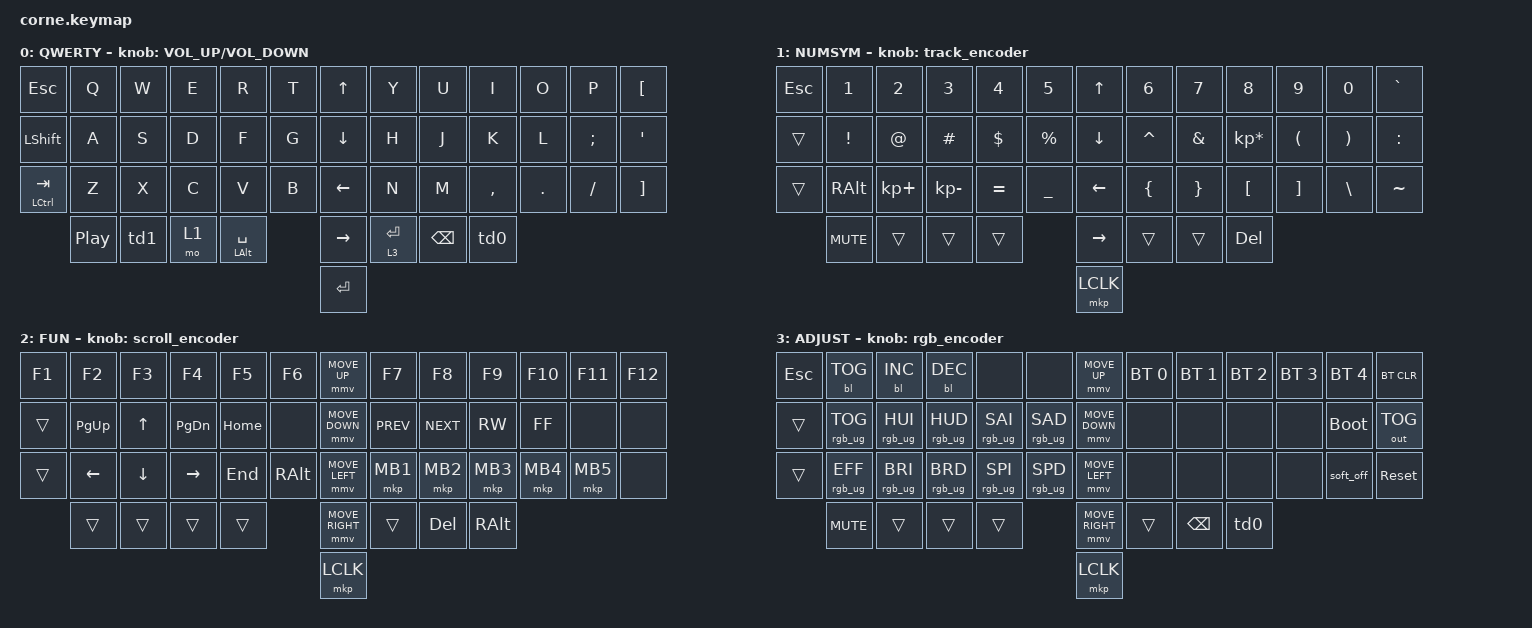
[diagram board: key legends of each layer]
#include <behaviors/mouse_keys.dtsi>

#include <behaviors.dtsi>
#include <dt-bindings/zmk/bt.h>
#include <dt-bindings/zmk/keys.h>
#include <dt-bindings/zmk/mouse.h>
#include <dt-bindings/zmk/outputs.h>
#include <dt-bindings/zmk/backlight.h>
#include <dt-bindings/zmk/rgb.h>

#define ZMK_MOUSE_DEFAULT_MOVE_VAL 1200  // 600
#define ZMK_MOUSE_DEFAULT_SCRL_VAL 20    // 10
#define U_MS_U &mmv MOVE_UP
#define U_MS_D &mmv MOVE_DOWN
#define U_MS_L &mmv MOVE_LEFT
#define U_MS_R &mmv MOVE_RIGHT

/ {
    behaviors {
        td0: td0 {
            compatible = "zmk,behavior-tap-dance";
            label = "TD0";
            #binding-cells = <0>;
            bindings = <&kp LALT>, <&kp CAPS>;
        };

        td1: td1 {
            compatible = "zmk,behavior-tap-dance";
            label = "TD1";
            #binding-cells = <0>;
            bindings = <&kp LGUI>, <&mo 2>;
        };

        mmv {
            acceleration-exponent = <1>;      // 1
            time-to-max-speed-ms = <900>;    // 40
            delay-ms = <0>;                   // 0
        };

        msc {
            acceleration-exponent = <1>;      // 0
            time-to-max-speed-ms = <400>;      // 500
            delay-ms = <0>;                   // 10
        };
    };

    rgb_encoder: rgb_encoder {
        compatible = "zmk,behavior-sensor-rotate";
        label = "RGB_ENCODER";
        #sensor-binding-cells = <0>;
        bindings = <&rgb_ug RGB_BRI>, <&rgb_ug RGB_BRD>;
    };

    scroll_encoder: scroll_encoder {
        compatible = "zmk,behavior-sensor-rotate";
        #sensor-binding-cells = <0>;
        bindings = <&msc SCRL_DOWN>, <&msc SCRL_UP>;

        tap-ms = <30>;
    };

    track_encoder: track_encoder {
        compatible = "zmk,behavior-sensor-rotate";
        label = "TRACK_ENCODER";
        #sensor-binding-cells = <0>;
        bindings = <&kp C_NEXT>, <&kp C_PREV>;
    };

    keymap {
        compatible = "zmk,keymap";

        default_layer {
            display-name = "QWERTY";

            // --------------------------------------------------------------------------------
            // |  ESC       |  Q  |  W  |  E  |  R  |  T  |          ↑    |  Y  |  U   |  I  |  O  |  P  |  [  | 
            // | SHIFT      |  A  |  S  |  D  |  F  |  G  |          ↓    |  H  |  J   |  K  |  L  |  ;  |  '  | 
            // | CTRL/TAB   |  Z  |  X  |  C  |  V  |  B  |          ←    |  N  |  M   |  ,  |  .  |  /  |  ]  |
            //                    | GUI/RSE | LWR | SPC |            →    | ENT | BKSP | LALT|
            //                                                      enter

            bindings = <
&kp ESC        &kp Q     &kp W        &kp E  &kp R     &kp T    &kp UP_ARROW     &kp Y        &kp U     &kp I      &kp O    &kp P     &kp LBKT
&kp LEFT_SHIFT &kp A     &kp S        &kp D  &kp F     &kp G    &kp DOWN_ARROW   &kp H        &kp J     &kp K      &kp L    &kp SEMI  &kp SQT
&mt LCTRL TAB  &kp Z     &kp X        &kp C  &kp V     &kp B    &kp LEFT_ARROW   &kp N        &kp M     &kp COMMA  &kp DOT  &kp FSLH  &kp RBKT
               &kp C_PP  &td1         &mo 1  &mt LALT SPACE     &kp RIGHT_ARROW  &lt 3 ENTER  &kp BSPC  &td0
                                                                &kp ENTER
            >;

            label = "QWERTY";
            sensor-bindings = <&inc_dec_kp C_VOLUME_UP C_VOLUME_DOWN>;
        };

        lower_layer {
            display-name = "NUMSYM";

            // -----------------------------------------------------------------------------------------
            // |  ESC       |  1  |  2  |  3  |  4  |  5  |   |  6  |  7  |  8  |  9  |  0  |  `  |
            // | SHIFT      |  !  |  @  |  #  |  $  |  %  |   |  ^  |  &  |  *  |  (  |  )  |  :  |
            // | CTRL/TAB   |     |  +  |  -  |  =  |  _  |   |  {  |  }  |  [  |  ]  |  \  |  ~  |
            //                    | GUI/RSE | LWR | SPC |     | ENT | BKSP | DEL |

            bindings = <
&kp ESC &kp N1    &kp N2          &kp N3        &kp N4        &kp N5            &kp UP_ARROW     &kp N6          &kp N7           &kp N8            &kp N9             &kp N0         &kp GRAVE
&trans  &kp EXCL  &kp AT          &kp HASH      &kp DLLR      &kp PRCNT         &kp DOWN_ARROW   &kp CARET       &kp AMPS         &kp KP_MULTIPLY   &kp LPAR           &kp RPAR       &kp COLON
&trans  &kp RALT  &kp KP_PLUS     &kp KP_MINUS  &kp EQUAL     &kp UNDERSCORE    &kp LEFT_ARROW   &kp LEFT_BRACE  &kp RIGHT_BRACE  &kp LEFT_BRACKET  &kp RIGHT_BRACKET  &kp BACKSLASH  &kp TILDE
                  &kp C_MUTE      &trans        &trans        &trans            &kp RIGHT_ARROW  &trans          &trans           &kp DEL
                                                                                &mkp LCLK
            >;

            label = "NUMSYM";
            sensor-bindings = <&track_encoder>;
        };

        raise_layer {
            display-name = "FUN";

            // -----------------------------------------------------------------------------------------
            // |  F1        |  F2  |  F3  |  F4   |  F5  |  F6  |   |  F7  |  F8  |  F9  |  F10  |  F11  | F12 |
            // | SHIFT/CAPS |  PU  |  UP  |  PD   | HOME |      |   | PREV | NEXT | REW  |  FF   |       |     |
            // | CTRL/TAB   | LEFT | DOWN | RIGHT | END  |      |   |  MB1 |  MB2 |  MB3 |  MB4  |  MB5  |     |
            //                     | GUI/RSE | LWR | SPC |          | ENT  |  DEL | RALT |

            bindings = <
&kp F1  &kp F2          &kp F3          &kp F4           &kp F5    &kp F6       &mmv MOVE_UP     &kp F7      &kp F8      &kp F9    &kp F10   &kp F11   &kp F12
&trans  &kp PAGE_UP     &kp UP_ARROW    &kp PAGE_DOWN    &kp HOME  &none        &mmv MOVE_DOWN   &kp C_PREV  &kp C_NEXT  &kp C_RW  &kp C_FF  &none     &none
&trans  &kp LEFT_ARROW  &kp DOWN_ARROW  &kp RIGHT_ARROW  &kp END   &kp RALT     &mmv MOVE_LEFT   &mkp MB1    &mkp MB2    &mkp MB3  &mkp MB4  &mkp MB5  &none
                        &trans          &trans           &trans    &trans       &mmv MOVE_RIGHT  &trans      &kp DEL     &kp RALT
                                                                                &mkp LCLK
            >;

            label = "FUN";
            sensor-bindings = <&scroll_encoder>;
        };

        layer_3 {
            display-name = "ADJUST";
            bindings = <
&kp ESC &bl BL_TOG       &bl BL_INC       &bl BL_DEC       &none            &none              &mmv MOVE_UP     &bt BT_SEL 0  &bt BT_SEL 1  &bt BT_SEL 2  &bt BT_SEL 3  &bt BT_SEL 4  &bt BT_CLR
&trans  &rgb_ug RGB_TOG  &rgb_ug RGB_HUI  &rgb_ug RGB_HUD  &rgb_ug RGB_SAI  &rgb_ug RGB_SAD    &mmv MOVE_DOWN   &none         &none         &none         &none         &bootloader   &out OUT_TOG
&trans  &rgb_ug RGB_EFF  &rgb_ug RGB_BRI  &rgb_ug RGB_BRD  &rgb_ug RGB_SPI  &rgb_ug RGB_SPD    &mmv MOVE_LEFT   &none         &none         &none         &none         &soft_off     &sys_reset
                         &kp K_MUTE       &trans           &trans           &trans             &mmv MOVE_RIGHT  &trans        &kp BSPC      &td0
                                                                                               &mkp LCLK
            >;

            label = "ADJUST";
            sensor-bindings = <&rgb_encoder>;
        };
    };
};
